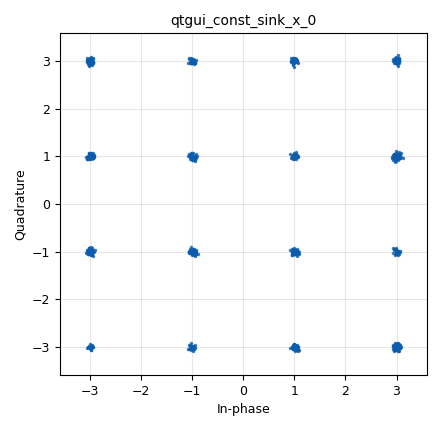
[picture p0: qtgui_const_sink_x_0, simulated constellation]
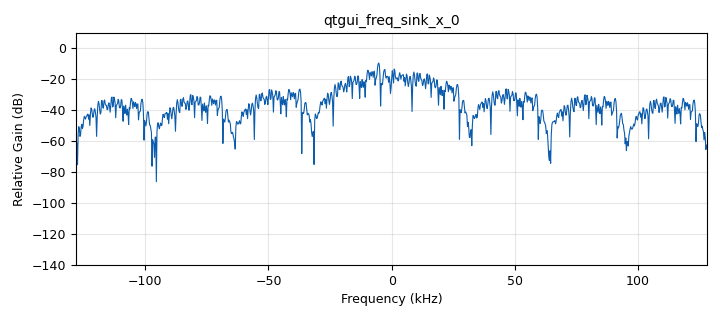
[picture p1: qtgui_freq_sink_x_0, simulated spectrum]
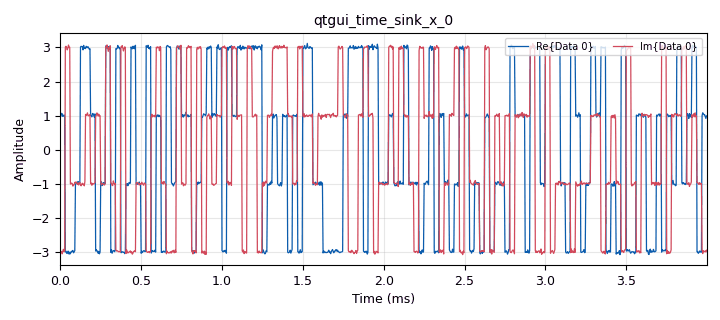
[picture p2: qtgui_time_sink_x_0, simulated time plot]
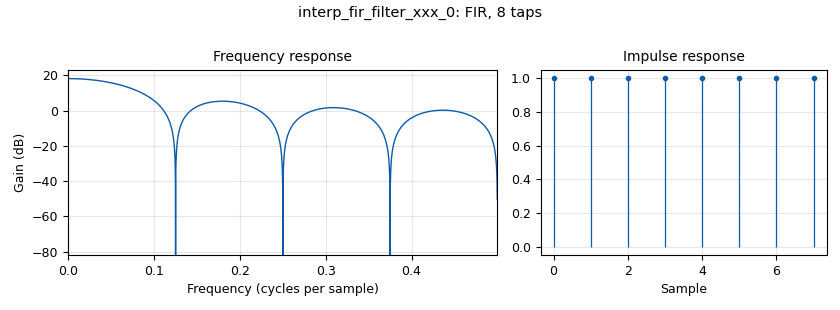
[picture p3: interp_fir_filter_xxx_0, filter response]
options:
  parameters:
    generate_options: qt_gui
    id: ModulacionSImple
    output_language: python
    title: Not titled yet
  states: {}

blocks:
- name: A_noise
  id: variable_qtgui_range
  parameters:
    start: '0'
    step: '0.01'
    stop: '1'
    value: '0.05'
  states: {}
- name: Constelacion
  id: variable
  parameters:
    value: (1+1j, -1+1j, -1-1j, 1-1j, 3+3j, -3+3j, -3-3j, 3-3j, 1+3j,-1+3j, 1-3j,-1-3j,-3+1j,-3-1j,3+1j,3-1j)
  states: {}
- name: M_niveles
  id: variable
  parameters:
    value: len(Constelacion)
  states: {}
- name: Rb
  id: variable
  parameters:
    value: Rs*bps
  states: {}
- name: Rs
  id: variable
  parameters:
    value: 32e3
  states: {}
- name: bps
  id: variable
  parameters:
    value: int(math.log(M_niveles,2))
  states: {}
- name: h
  id: variable
  parameters:
    value: (1, 1, 1, 1, 1, 1, 1, 1)
  states: {}
- name: samp_rate
  id: variable
  parameters:
    value: 32000*sps
  states: {}
- name: sps
  id: variable
  parameters:
    value: len(h)
  states: {}
- name: analog_noise_source_x_0
  id: analog_noise_source_x
  parameters:
    amp: A_noise
    noise_type: analog.GR_GAUSSIAN
    seed: '0'
    type: complex
  states: {}
- name: analog_random_source_x_0
  id: analog_random_source_x
  parameters:
    max: '2'
    min: '0'
    num_samps: '1000'
    repeat: 'True'
    type: byte
  states: {}
- name: blocks_add_xx_0
  id: blocks_add_xx
  parameters:
    type: complex
  states: {}
- name: blocks_pack_k_bits_bb_0
  id: blocks_pack_k_bits_bb
  parameters:
    k: '8'
  states: {}
- name: blocks_packed_to_unpacked_xx_0
  id: blocks_packed_to_unpacked_xx
  parameters:
    bits_per_chunk: bps
    endianness: gr.GR_MSB_FIRST
    type: byte
  states: {}
- name: digital_chunks_to_symbols_xx_0
  id: digital_chunks_to_symbols_xx
  parameters:
    dimension: '1'
    in_type: byte
    out_type: complex
    symbol_table: Constelacion
  states: {}
- name: import_0
  id: import
  parameters:
    imports: import math
  states: {}
- name: interp_fir_filter_xxx_0
  id: interp_fir_filter_xxx
  parameters:
    interp: sps
    taps: h
    type: ccc
  states: {}
- name: qtgui_const_sink_x_0
  id: qtgui_const_sink_x
  parameters:
    autoscale: 'True'
    size: '1024'
    type: complex
  states: {}
- name: qtgui_freq_sink_x_0
  id: qtgui_freq_sink_x
  parameters:
    bw: samp_rate
    fc: '0'
    fftsize: '1024'
    type: complex
  states: {}
- name: qtgui_time_sink_x_0
  id: qtgui_time_sink_x
  parameters:
    autoscale: 'True'
    color1: red
    color2: green
    grid: 'True'
    size: '1024'
    srate: samp_rate
    type: complex
  states: {}
- name: virtual_sink_0
  id: virtual_sink
  parameters:
    stream_id: noise
  states: {}
- name: virtual_sink_0_0
  id: virtual_sink
  parameters:
    stream_id: noiseless
  states: {}
- name: virtual_source_0
  id: virtual_source
  parameters:
    stream_id: noiseless
  states: {state: disabled}
- name: virtual_source_0_0
  id: virtual_source
  parameters:
    stream_id: noise
  states: {}

connections:
- [analog_noise_source_x_0, '0', blocks_add_xx_0, '1']
- [analog_random_source_x_0, '0', blocks_pack_k_bits_bb_0, '0']
- [blocks_add_xx_0, '0', virtual_sink_0, '0']
- [blocks_pack_k_bits_bb_0, '0', blocks_packed_to_unpacked_xx_0, '0']
- [blocks_packed_to_unpacked_xx_0, '0', digital_chunks_to_symbols_xx_0, '0']
- [digital_chunks_to_symbols_xx_0, '0', interp_fir_filter_xxx_0, '0']
- [interp_fir_filter_xxx_0, '0', blocks_add_xx_0, '0']
- [interp_fir_filter_xxx_0, '0', virtual_sink_0_0, '0']
- [virtual_source_0, '0', qtgui_time_sink_x_0, '0']
- [virtual_source_0_0, '0', qtgui_const_sink_x_0, '0']
- [virtual_source_0_0, '0', qtgui_freq_sink_x_0, '0']
- [virtual_source_0_0, '0', qtgui_time_sink_x_0, '0']

metadata:
  file_format: 1
